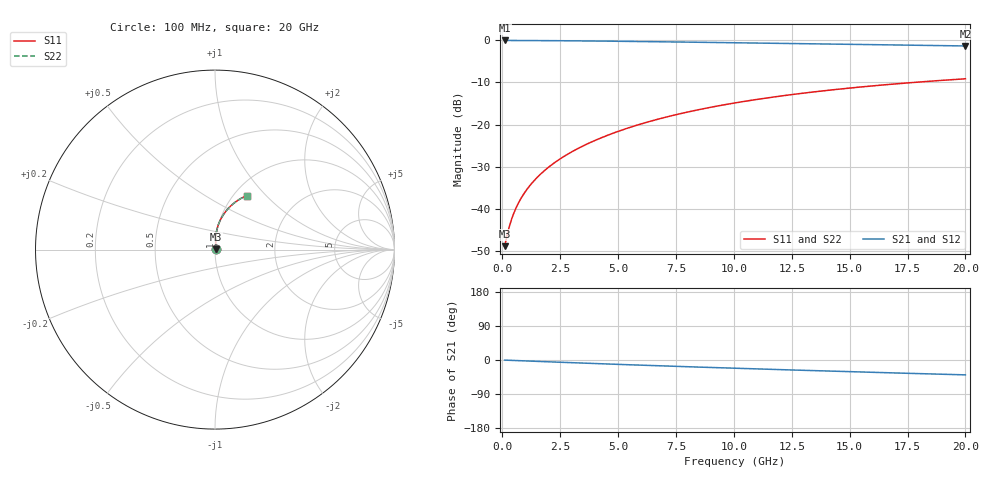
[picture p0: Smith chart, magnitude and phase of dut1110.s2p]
! Touchstone file exported from HFSS 2024.1.0
!  File:  C:/UserFiles/LocalFiles/RDL_TSV_Batchsim/temp_RDL_top_1110_1780046643.aedt
!  Generated:  05:26:22 PM May 29, 2026
!  Design:  RDL_top
!  Project:  temp_RDL_top_1110_1780046643
!  Setup:  Setup1
!  Solution:  Sweep
! Variables:
!  dtsv = 10.80580581um
!  hbump = 3um
!  htsv = 60.77um
!  ldown = 100um
!  lrdl = 546.68um
!  p = 40
!  p1 = 53.57um
!  rhole = 1um
!  t = 450um
!  tdown = 3.915915916um
!  trdl = 2.61um
!  wdown = 15.38538539um
!  wrdl = 25.9um
# GHz S MA R 50.000000
! Terminal data exported
! Port[1] = Box2_T1
! Port[2] = Box2_T2
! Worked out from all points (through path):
!   200 points, 100 MHz to 20 GHz, reference 50 ohm
!   highest |S21| = -0.03 dB at 100 MHz (marker M1); lowest = -1.3 dB at 20 GHz (marker M2)
!   group delay of S21, straight-line fit = 5.39 ps
!   lowest |S11| = -48.8 dB at 100 MHz (marker M3), VSWR 1.01, Z = 50.3 + j0.176 ohm
!   |S11| at or under -10 dB: start of sweep to 17.74 GHz
!   |S22| runs from -48.8 to -9.1 dB; largest |S21 - S12| = 3.3e-15
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0.1  0.003614 28.9  0.9968 -0.3  0.9968 -0.3  0.003614 28.9
! Gamma 0 0 0 0
! Port Impedance 50 0 50 0
0.3  0.006121 55.8  0.9965 -0.8  0.9965 -0.8  0.006121 55.8
0.4  0.007532 61.6  0.9962 -1.0  0.9962 -1.0  0.007532 61.6
0.5  0.008947 65.6  0.996 -1.2  0.996 -1.2  0.008948 65.6
0.6  0.01036 68.5  0.9958 -1.5  0.9958 -1.5  0.01036 68.5
0.8  0.01321 72.8  0.9953 -2.0  0.9953 -2.0  0.01322 72.8
1  0.01611 75.8  0.9949 -2.4  0.9949 -2.4  0.01611 75.8
1.2  0.01905 78.1  0.9944 -2.9  0.9944 -2.9  0.01905 78.1
1.7  0.02661 81.7  0.9929 -4.1  0.9929 -4.1  0.02661 81.7
2.2  0.03444 83.8  0.9911 -5.3  0.9911 -5.3  0.03444 83.8
2.8  0.04421 85.3  0.9884 -6.6  0.9884 -6.6  0.04421 85.3
3.5  0.05609 86.2  0.9846 -8.2  0.9846 -8.2  0.05609 86.2
4.2  0.06846 86.4  0.9804 -9.8  0.9804 -9.8  0.06846 86.4
5  0.08312 86.1  0.9751 -11.5  0.9751 -11.5  0.08312 86.1
5.9  0.1001 85.3  0.9686 -13.5  0.9686 -13.5  0.1001 85.3
6.8  0.1175 84.2  0.9619 -15.3  0.9619 -15.3  0.1175 84.2
8.4  0.1488 81.6  0.9495 -18.5  0.9495 -18.5  0.1488 81.6
10.1  0.1819 78.4  0.936 -21.8  0.936 -21.8  0.1819 78.4
11.7  0.2124 75.2  0.9233 -24.8  0.9233 -24.8  0.2124 75.2
13.4  0.2435 71.8  0.9098 -27.9  0.9098 -27.9  0.2435 71.8
16.7  0.2998 65.5  0.8836 -33.7  0.8836 -33.7  0.2997 65.5
20  0.3499 59.5  0.8576 -39.2  0.8576 -39.2  0.3499 59.4
